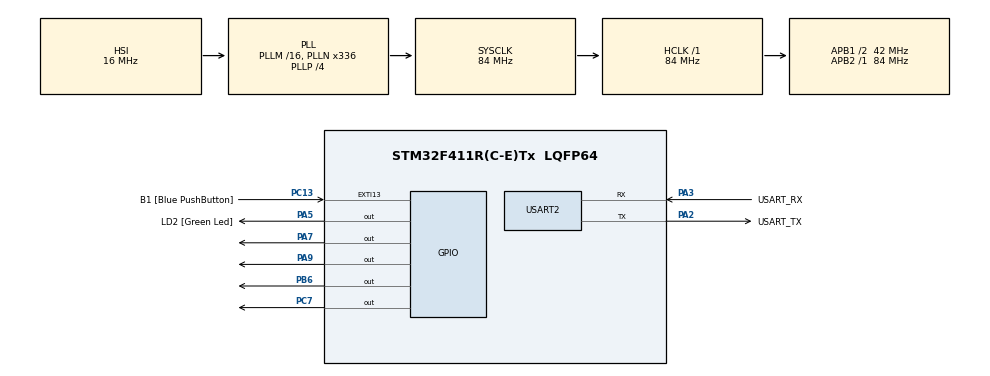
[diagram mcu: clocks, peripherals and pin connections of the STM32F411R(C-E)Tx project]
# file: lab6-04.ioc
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FREERTOS.Queues01=myQueue01,16,char *,0,Dynamic,NULL,NULL
FREERTOS.Tasks01=defaultTask,24,128,StartDefaultTask,Default,NULL,Dynamic,NULL,NULL;myTask02,8,128,StartTask02,Default,NULL,Dynamic,NULL,NULL;myTask03,8,128,StartTask03,Default,NULL,Dynamic,NULL,NULL;myTask04,8,128,StartTask04,Default,NULL,Dynamic,NULL,NULL
FREERTOS.Timers01=myTimer01,Callback01,osTimerPeriodic,Default,NULL,Dynamic,NULL;myTimer02,Callback02,osTimerPeriodic,Default,NULL,Dynamic,NULL;myTimer03,Callback03,osTimerPeriodic,Default,NULL,Dynamic,NULL;myTimer04,Callback04,osTimerPeriodic,Default,NULL,Dynamic,NULL
Mcu.Family=STM32F4
Mcu.Name=STM32F411R(C-E)Tx
Mcu.Package=LQFP64
NVIC.PriorityGroup=NVIC_PRIORITYGROUP_4
PA13.GPIO_Label=TMS
PA13.Mode=Serial_Wire
PA13.Signal=SYS_JTMS-SWDIO
PA14.GPIO_Label=TCK
PA14.Mode=Serial_Wire
PA14.Signal=SYS_JTCK-SWCLK
PA2.GPIO_Label=USART_TX
PA2.Mode=Asynchronous
PA2.Signal=USART2_TX
PA3.GPIO_Label=USART_RX
PA3.Mode=Asynchronous
PA3.Signal=USART2_RX
PA5.GPIO_Label=LD2 [Green Led]
PA5.Signal=GPIO_Output
PA7.Signal=GPIO_Output
PA9.Signal=GPIO_Output
PB3.GPIO_Label=SWO
PB3.Signal=SYS_JTDO-SWO
PB6.Signal=GPIO_Output
PC13-ANTI_TAMP.GPIO_Label=B1 [Blue PushButton]
PC13-ANTI_TAMP.GPIO_ModeDefaultEXTI=GPIO_MODE_IT_FALLING
PC13-ANTI_TAMP.Signal=GPXTI13
PC14-OSC32_IN.Mode=LSE-External-Oscillator
PC14-OSC32_IN.Signal=RCC_OSC32_IN
PC15-OSC32_OUT.Mode=LSE-External-Oscillator
PC15-OSC32_OUT.Signal=RCC_OSC32_OUT
PC7.Signal=GPIO_Output
PH0\ -\ OSC_IN.Mode=HSE-External-Clock-Source
PH0\ -\ OSC_IN.Signal=RCC_OSC_IN
PH1\ -\ OSC_OUT.Mode=HSE-External-Clock-Source
PH1\ -\ OSC_OUT.Signal=RCC_OSC_OUT
ProjectManager.HeapSize=0x200
ProjectManager.StackSize=0x400
ProjectManager.TargetToolchain=STM32CubeIDE
RCC.48MHZClocksFreq_Value=84000000
RCC.AHBFreq_Value=84000000
RCC.APB1CLKDivider=RCC_HCLK_DIV2
RCC.APB1Freq_Value=42000000
RCC.APB1TimFreq_Value=84000000
RCC.APB2Freq_Value=84000000
RCC.APB2TimFreq_Value=84000000
RCC.CortexFreq_Value=84000000
RCC.FLatency-AdvancedSettings=FLASH_LATENCY_2
RCC.HCLKFreq_Value=84000000
RCC.HSE_VALUE=8000000
RCC.HSI_VALUE=16000000
RCC.PLLN=336
RCC.PLLP=RCC_PLLP_DIV4
RCC.SYSCLKFreq_VALUE=84000000
RCC.SYSCLKSource=RCC_SYSCLKSOURCE_PLLCLK
RCC.VCOOutputFreq_Value=336000000
USART2.VirtualMode=VM_ASYNC
VP_FREERTOS_VS_CMSIS_V2.Mode=CMSIS_V2
board=NUCLEO-F411RE

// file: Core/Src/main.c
/* USER CODE BEGIN Header */
/**
  ******************************************************************************
  * @file           : main.c
  * @brief          : Main program body
  ******************************************************************************
  * @attention
  *
  * Copyright (c) 2024 STMicroelectronics.
  * All rights reserved.
  *
  * This software is licensed under terms that can be found in the LICENSE file
  * in the root directory of this software component.
  * If no LICENSE file comes with this software, it is provided AS-IS.
  *
  ******************************************************************************
  */
/* USER CODE END Header */
#include "main.h"
#include "cmsis_os.h"

/* USER CODE BEGIN Includes */
#include <stdbool.h>
#include <stdio.h>
#include <stdlib.h>
#include <string.h>
/* USER CODE END Includes */

UART_HandleTypeDef huart2;

/* Definitions for defaultTask */
osThreadId_t defaultTaskHandle;
const osThreadAttr_t defaultTask_attributes = {
  .name = "defaultTask",
  .stack_size = 128 * 4,
  .priority = (osPriority_t) osPriorityNormal,
};
/* Definitions for myTask02 */
osThreadId_t myTask02Handle;
const osThreadAttr_t myTask02_attributes = {
  .name = "myTask02",
  .stack_size = 128 * 4,
  .priority = (osPriority_t) osPriorityLow,
};
/* Definitions for myTask03 */
osThreadId_t myTask03Handle;
const osThreadAttr_t myTask03_attributes = {
  .name = "myTask03",
  .stack_size = 128 * 4,
  .priority = (osPriority_t) osPriorityLow,
};
/* Definitions for myTask04 */
osThreadId_t myTask04Handle;
const osThreadAttr_t myTask04_attributes = {
  .name = "myTask04",
  .stack_size = 128 * 4,
  .priority = (osPriority_t) osPriorityLow,
};
/* Definitions for myQueue01 */
osMessageQueueId_t myQueue01Handle;
const osMessageQueueAttr_t myQueue01_attributes = {
  .name = "myQueue01"
};
/* Definitions for myTimer01 */
osTimerId_t myTimer01Handle;
const osTimerAttr_t myTimer01_attributes = {
  .name = "myTimer01"
};
/* Definitions for myTimer02 */
osTimerId_t myTimer02Handle;
const osTimerAttr_t myTimer02_attributes = {
  .name = "myTimer02"
};
/* Definitions for myTimer03 */
osTimerId_t myTimer03Handle;
const osTimerAttr_t myTimer03_attributes = {
  .name = "myTimer03"
};
/* Definitions for myTimer04 */
osTimerId_t myTimer04Handle;
const osTimerAttr_t myTimer04_attributes = {
  .name = "myTimer04"
};

void SystemClock_Config(void);
static void MX_GPIO_Init(void);
static void MX_USART2_UART_Init(void);
void StartDefaultTask(void *argument);
void StartTask02(void *argument);
void StartTask03(void *argument);
void StartTask04(void *argument);
void Callback01(void *argument);
void Callback02(void *argument);
void Callback03(void *argument);
void Callback04(void *argument);

/* USER CODE BEGIN 0 */
typedef struct {
	  GPIO_TypeDef* gpiox;
	  uint16_t gpio_pin;
} LEDArgument;

const LEDArgument arguments[4] = {
		  {GPIOA, GPIO_PIN_9},
		  {GPIOC, GPIO_PIN_7},
		  {GPIOB, GPIO_PIN_6},
		  {GPIOA, GPIO_PIN_7}
};

void DoLedToggle(void const* argument) {
	LEDArgument* arg = (LEDArgument*)argument;

    HAL_GPIO_TogglePin(arg->gpiox, arg->gpio_pin);
}
/* USER CODE END 0 */

int main(void)
{

  /* MCU Configuration--------------------------------------------------------*/

  /* Reset of all peripherals, Initializes the Flash interface and the Systick. */
  HAL_Init();

  /* Configure the system clock */
  SystemClock_Config();

  /* Initialize all configured peripherals */
  MX_GPIO_Init();
  MX_USART2_UART_Init();

  /* Init scheduler */
  osKernelInitialize();

  /* Create the timer(s) */
  /* creation of myTimer01 */
  myTimer01Handle = osTimerNew(Callback01, osTimerPeriodic, NULL, &myTimer01_attributes);

  /* creation of myTimer02 */
  myTimer02Handle = osTimerNew(Callback02, osTimerPeriodic, NULL, &myTimer02_attributes);

  /* creation of myTimer03 */
  myTimer03Handle = osTimerNew(Callback03, osTimerPeriodic, NULL, &myTimer03_attributes);

  /* creation of myTimer04 */
  myTimer04Handle = osTimerNew(Callback04, osTimerPeriodic, NULL, &myTimer04_attributes);

  /* USER CODE BEGIN RTOS_TIMERS */
  /* start timers, add new ones, ... */
  osTimerStart(myTimer01Handle, 25);
  osTimerStart(myTimer02Handle, 9);
  osTimerStart(myTimer03Handle, 64);
  osTimerStart(myTimer04Handle, 32);
  /* USER CODE END RTOS_TIMERS */

  /* Create the queue(s) */
  /* creation of myQueue01 */
  myQueue01Handle = osMessageQueueNew (16, sizeof(char *), &myQueue01_attributes);

  /* Create the thread(s) */
  /* creation of defaultTask */
  defaultTaskHandle = osThreadNew(StartDefaultTask, NULL, &defaultTask_attributes);

  /* creation of myTask02 */
  myTask02Handle = osThreadNew(StartTask02, NULL, &myTask02_attributes);

  /* creation of myTask03 */
  myTask03Handle = osThreadNew(StartTask03, NULL, &myTask03_attributes);

  /* creation of myTask04 */
  myTask04Handle = osThreadNew(StartTask04, NULL, &myTask04_attributes);

  /* Start scheduler */
  osKernelStart();

  /* We should never get here as control is now taken by the scheduler */
  /* Infinite loop */
  while (1)
  {

  }
}

void SystemClock_Config(void)
{
  RCC_OscInitTypeDef RCC_OscInitStruct = {0};
  RCC_ClkInitTypeDef RCC_ClkInitStruct = {0};

  /** Configure the main internal regulator output voltage
  */
  __HAL_RCC_PWR_CLK_ENABLE();
  __HAL_PWR_VOLTAGESCALING_CONFIG(PWR_REGULATOR_VOLTAGE_SCALE1);

  /** Initializes the RCC Oscillators according to the specified parameters
  * in the RCC_OscInitTypeDef structure.
  */
  RCC_OscInitStruct.OscillatorType = RCC_OSCILLATORTYPE_HSI;
  RCC_OscInitStruct.HSIState = RCC_HSI_ON;
  RCC_OscInitStruct.HSICalibrationValue = RCC_HSICALIBRATION_DEFAULT;
  RCC_OscInitStruct.PLL.PLLState = RCC_PLL_ON;
  RCC_OscInitStruct.PLL.PLLSource = RCC_PLLSOURCE_HSI;
  RCC_OscInitStruct.PLL.PLLM = 16;
  RCC_OscInitStruct.PLL.PLLN = 336;
  RCC_OscInitStruct.PLL.PLLP = RCC_PLLP_DIV4;
  RCC_OscInitStruct.PLL.PLLQ = 4;
  if (HAL_RCC_OscConfig(&RCC_OscInitStruct) != HAL_OK)
  {
    Error_Handler();
  }

  /** Initializes the CPU, AHB and APB buses clocks
  */
  RCC_ClkInitStruct.ClockType = RCC_CLOCKTYPE_HCLK|RCC_CLOCKTYPE_SYSCLK
                              |RCC_CLOCKTYPE_PCLK1|RCC_CLOCKTYPE_PCLK2;
  RCC_ClkInitStruct.SYSCLKSource = RCC_SYSCLKSOURCE_PLLCLK;
  RCC_ClkInitStruct.AHBCLKDivider = RCC_SYSCLK_DIV1;
  RCC_ClkInitStruct.APB1CLKDivider = RCC_HCLK_DIV2;
  RCC_ClkInitStruct.APB2CLKDivider = RCC_HCLK_DIV1;

  if (HAL_RCC_ClockConfig(&RCC_ClkInitStruct, FLASH_LATENCY_2) != HAL_OK)
  {
    Error_Handler();
  }
}

static void MX_USART2_UART_Init(void)
{

  huart2.Instance = USART2;
  huart2.Init.BaudRate = 115200;
  huart2.Init.WordLength = UART_WORDLENGTH_8B;
  huart2.Init.StopBits = UART_STOPBITS_1;
  huart2.Init.Parity = UART_PARITY_NONE;
  huart2.Init.Mode = UART_MODE_TX_RX;
  huart2.Init.HwFlowCtl = UART_HWCONTROL_NONE;
  huart2.Init.OverSampling = UART_OVERSAMPLING_16;
  if (HAL_UART_Init(&huart2) != HAL_OK)
  {
    Error_Handler();
  }

}

static void MX_GPIO_Init(void)
{
  GPIO_InitTypeDef GPIO_InitStruct = {0};

  /* GPIO Ports Clock Enable */
  __HAL_RCC_GPIOC_CLK_ENABLE();
  __HAL_RCC_GPIOH_CLK_ENABLE();
  __HAL_RCC_GPIOA_CLK_ENABLE();
  __HAL_RCC_GPIOB_CLK_ENABLE();

  /*Configure GPIO pin Output Level */
  HAL_GPIO_WritePin(GPIOA, LD2_Pin|GPIO_PIN_7|GPIO_PIN_9, GPIO_PIN_RESET);

  /*Configure GPIO pin Output Level */
  HAL_GPIO_WritePin(GPIOC, GPIO_PIN_7, GPIO_PIN_RESET);

  /*Configure GPIO pin Output Level */
  HAL_GPIO_WritePin(GPIOB, GPIO_PIN_6, GPIO_PIN_RESET);

  /*Configure GPIO pin : B1_Pin */
  GPIO_InitStruct.Pin = B1_Pin;
  GPIO_InitStruct.Mode = GPIO_MODE_IT_FALLING;
  GPIO_InitStruct.Pull = GPIO_NOPULL;
  HAL_GPIO_Init(B1_GPIO_Port, &GPIO_InitStruct);

  /*Configure GPIO pins : LD2_Pin PA7 PA9 */
  GPIO_InitStruct.Pin = LD2_Pin|GPIO_PIN_7|GPIO_PIN_9;
  GPIO_InitStruct.Mode = GPIO_MODE_OUTPUT_PP;
  GPIO_InitStruct.Pull = GPIO_NOPULL;
  GPIO_InitStruct.Speed = GPIO_SPEED_FREQ_LOW;
  HAL_GPIO_Init(GPIOA, &GPIO_InitStruct);

  /*Configure GPIO pin : PC7 */
  GPIO_InitStruct.Pin = GPIO_PIN_7;
  GPIO_InitStruct.Mode = GPIO_MODE_OUTPUT_PP;
  GPIO_InitStruct.Pull = GPIO_NOPULL;
  GPIO_InitStruct.Speed = GPIO_SPEED_FREQ_LOW;
  HAL_GPIO_Init(GPIOC, &GPIO_InitStruct);

  /*Configure GPIO pin : PB6 */
  GPIO_InitStruct.Pin = GPIO_PIN_6;
  GPIO_InitStruct.Mode = GPIO_MODE_OUTPUT_PP;
  GPIO_InitStruct.Pull = GPIO_NOPULL;
  GPIO_InitStruct.Speed = GPIO_SPEED_FREQ_LOW;
  HAL_GPIO_Init(GPIOB, &GPIO_InitStruct);

}

void StartDefaultTask(void *argument)
{
  for(;;)
  {
    osDelay(1);
  }
}

void StartTask02(void *argument)
{
  /* USER CODE BEGIN StartTask02 */
  /* Infinite loop */
	int threadID = 0; // threadID is 0 for one thread and 1 for another
	int idx = 0;

	char* buffer = (char *)malloc(sizeof(char) * 32);

	while(1) {
		sprintf(buffer, "TID: %d %d\r\n", threadID, idx);
		idx++;

		osMessageQueuePut(myQueue01Handle, &buffer, 0U, osWaitForever);

		osDelay(100);
	}
  /* USER CODE END StartTask02 */
}

void StartTask03(void *argument)
{
  /* USER CODE BEGIN StartTask03 */
  /* Infinite loop */
	int threadID = 1; // threadID is 0 for one thread and 1 for another
	int idx = 0;

	char* buffer = (char *)malloc(sizeof(char) * 32);

	while(1) {
		sprintf(buffer, "TID: %d %d\r\n", threadID, idx);
		idx++;

		osMessageQueuePut(myQueue01Handle, &buffer, 0U, osWaitForever);

		osDelay(100);
	}
  /* USER CODE END StartTask03 */
}

void StartTask04(void *argument)
{
  /* USER CODE BEGIN StartTask04 */
  /* Infinite loop */
	char* buffer;

  while(true)
  {
    	osStatus_t status = osMessageQueueGet(myQueue01Handle, &buffer, 0U, osWaitForever);

    	if (status != osOK) {
    		continue;
    	}

    	HAL_UART_Transmit(&huart2, buffer, strlen(buffer), 100);
  }
  /* USER CODE END StartTask04 */
}

/* Callback01 function */
void Callback01(void *argument)
{
  /* USER CODE BEGIN Callback01 */
	DoLedToggle((void *)(arguments + 0));
  /* USER CODE END Callback01 */
}

/* Callback02 function */
void Callback02(void *argument)
{
  /* USER CODE BEGIN Callback02 */
	DoLedToggle((void *)(arguments + 1));
  /* USER CODE END Callback02 */
}

/* Callback03 function */
void Callback03(void *argument)
{
  /* USER CODE BEGIN Callback03 */
	DoLedToggle((void *)(arguments + 2));
  /* USER CODE END Callback03 */
}

/* Callback04 function */
void Callback04(void *argument)
{
  /* USER CODE BEGIN Callback04 */
	DoLedToggle((void *)(arguments + 3));
  /* USER CODE END Callback04 */
}

void Error_Handler(void)
{
  __disable_irq();
  while (1)
  {
  }
}
